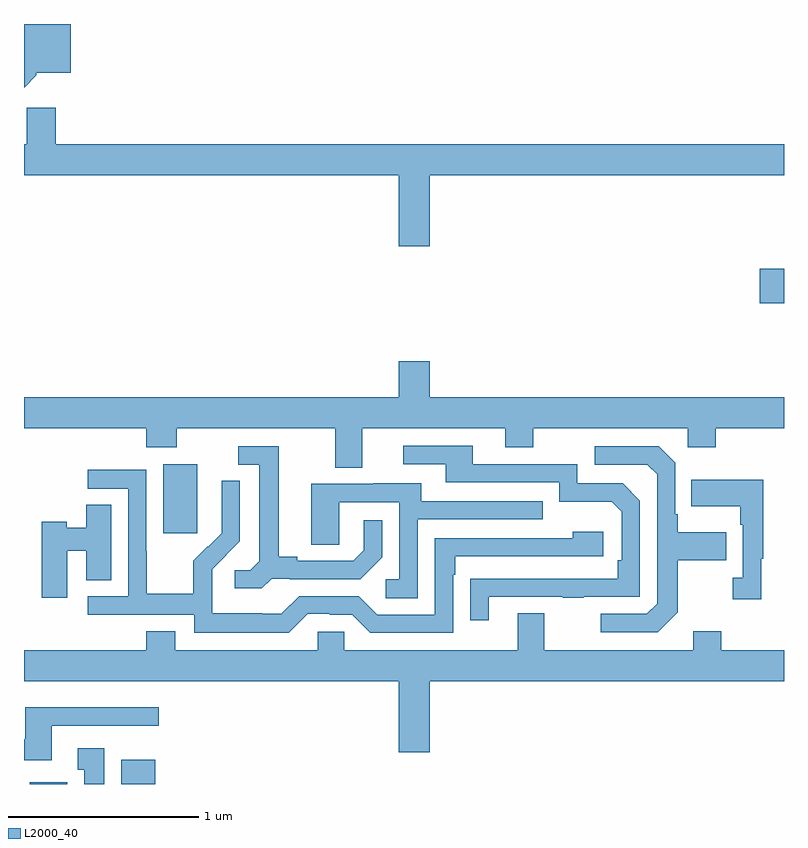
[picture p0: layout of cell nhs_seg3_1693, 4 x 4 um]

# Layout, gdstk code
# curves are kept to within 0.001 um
import gdstk
lib = gdstk.Library(unit=1e-6, precision=1e-09)
def R(c, l, rs):  # rectangles x0, y0, x1, y1
    for r in rs: c.add(gdstk.rectangle(r[:2], r[2:], *l))
def P(c, l, *ps):  # polygons
    for p in ps: c.add(gdstk.Polygon(p, *l))
L2000_40 = (2000, 40)

nhs_seg3_1693 = lib.new_cell('nhs_seg3_1693')
R(nhs_seg3_1693, L2000_40, [(199.031,676.4,199.228,676.408), (199.511,676.4,199.69,676.528), (199.733,677.721,199.912,678.082), (202.872,678.929,203,679.112)])
P(nhs_seg3_1693, L2000_40, [(199.064,680.129),(199.064,680.144),(199.246,680.144),(199.246,680.4),(199,680.4),(199,680.065)],
  [(201.136,679.604),(203,679.604),(203,679.768),(199.166,679.768),(199.166,679.959),(199.015,679.959),(199.015,679.768),(199,679.768),(199,679.604),(200.972,679.604),(200.972,679.23),(201.136,679.23)],
  [(200.779,678.272),(201.533,678.272),(201.533,678.173),(201.681,678.173),(201.681,678.272),(202.494,678.272),(202.494,678.173),(202.641,678.173),(202.641,678.272),(203,678.272),(203,678.436),(201.136,678.436),(201.136,678.625),(200.972,678.625),(200.972,678.436),(199,678.436),(199,678.272),(199.643,678.272),(199.643,678.173),(199.803,678.173),(199.803,678.272),(200.639,678.272),(200.639,678.064),(200.779,678.064)],
  [(201.445,677.385),(201.835,677.385),(201.835,677.38),(201.947,677.38),(201.947,677.385),(202.242,677.385),(202.242,677.892),(202.152,677.982),(201.912,677.982),(201.912,678.084),(201.361,678.084),(201.361,678.18),(200.997,678.18),(200.997,678.084),(201.221,678.084),(201.221,677.988),(201.816,677.988),(201.816,677.885),(202.093,677.885),(202.146,677.832),(202.146,677.578),(202.126,677.578),(202.126,677.481),(201.349,677.48),(201.349,677.262),(201.445,677.262)],
  [(200.304,677.481),(200.398,677.481),(200.398,677.478),(200.77,677.478),(200.886,677.594),(200.886,677.788),(200.789,677.788),(200.789,677.631),(200.732,677.574),(200.437,677.574),(200.437,677.597),(200.341,677.597),(200.341,678.177),(200.127,678.177),(200.127,678.081),(200.237,678.081),(200.237,677.573),(200.19,677.526),(200.109,677.526),(200.109,677.429),(200.252,677.429)],
  [(202.441,677.305),(202.441,677.578),(202.697,677.578),(202.697,677.725),(202.441,677.725),(202.441,677.821),(202.428,677.821),(202.428,678.09),(202.341,678.177),(202.005,678.177),(202.005,678.081),(202.281,678.081),(202.332,678.03),(202.332,677.349),(202.278,677.295),(202.035,677.295),(202.035,677.199),(202.335,677.199)],
  [(200.493,677.295),(200.609,677.295),(200.609,677.292),(200.727,677.292),(200.823,677.196),(201.258,677.196),(201.258,677.501),(201.271,677.501),(201.271,677.598),(202.048,677.598),(202.048,677.728),(201.887,677.728),(201.887,677.694),(201.162,677.694),(201.162,677.292),(200.859,677.292),(200.763,677.388),(200.448,677.388),(200.355,677.295),(200.255,677.295),(200.255,677.299),(199.992,677.299),(199.992,677.433),(199.99,677.433),(199.99,677.53),(200.136,677.678),(200.136,677.996),(200.04,677.996),(200.04,677.842),(200.042,677.842),(200.042,677.72),(199.971,677.649),(199.968,677.652),(199.891,677.575),(199.891,677.401),(199.647,677.401),(199.647,677.624),(199.644,677.624),(199.644,678.054),(199.335,678.054),(199.335,677.955),(199.548,677.955),(199.548,677.388),(199.335,677.388),(199.335,677.292),(199.896,677.292),(199.896,677.195),(200.393,677.195)],
  [(202.879,677.585),(202.891,677.585),(202.891,678.001),(202.513,678.001),(202.513,677.861),(202.77,677.861),(202.77,677.765),(202.782,677.765),(202.782,677.486),(202.731,677.486),(202.731,677.373),(202.879,677.373)],
  [(201.072,677.793),(201.731,677.793),(201.731,677.889),(201.091,677.889),(201.091,677.983),(200.837,677.983),(200.837,677.979),(200.513,677.979),(200.513,677.659),(200.658,677.659),(200.658,677.883),(200.976,677.883),(200.976,677.478),(200.904,677.478),(200.904,677.377),(201.072,677.377)],
  [(199.228,677.627),(199.328,677.627),(199.328,677.473),(199.459,677.473),(199.459,677.87),(199.328,677.87),(199.328,677.749),(199.224,677.749),(199.224,677.78),(199.094,677.78),(199.094,677.379),(199.228,677.379)],
  [(200.685,677.202),(200.547,677.202),(200.547,677.104),(199.795,677.104),(199.795,677.203),(199.643,677.203),(199.643,677.104),(199,677.104),(199,676.94),(200.972,676.94),(200.972,676.566),(201.136,676.566),(201.136,676.94),(203,676.94),(203,677.104),(202.671,677.104),(202.671,677.203),(202.523,677.203),(202.523,677.104),(201.739,677.104),(201.739,677.299),(201.599,677.299),(201.599,677.104),(200.685,677.104)],
  [(199.147,676.707),(199.708,676.707),(199.708,676.804),(199.007,676.804),(199.007,676.636),(199,676.636),(199,676.526),(199.147,676.526)],
  [(199.423,676.588),(199.283,676.588),(199.283,676.475),(199.316,676.475),(199.316,676.4),(199.423,676.4)])

lib.write_gds('nhs_seg3_1693.gds')
